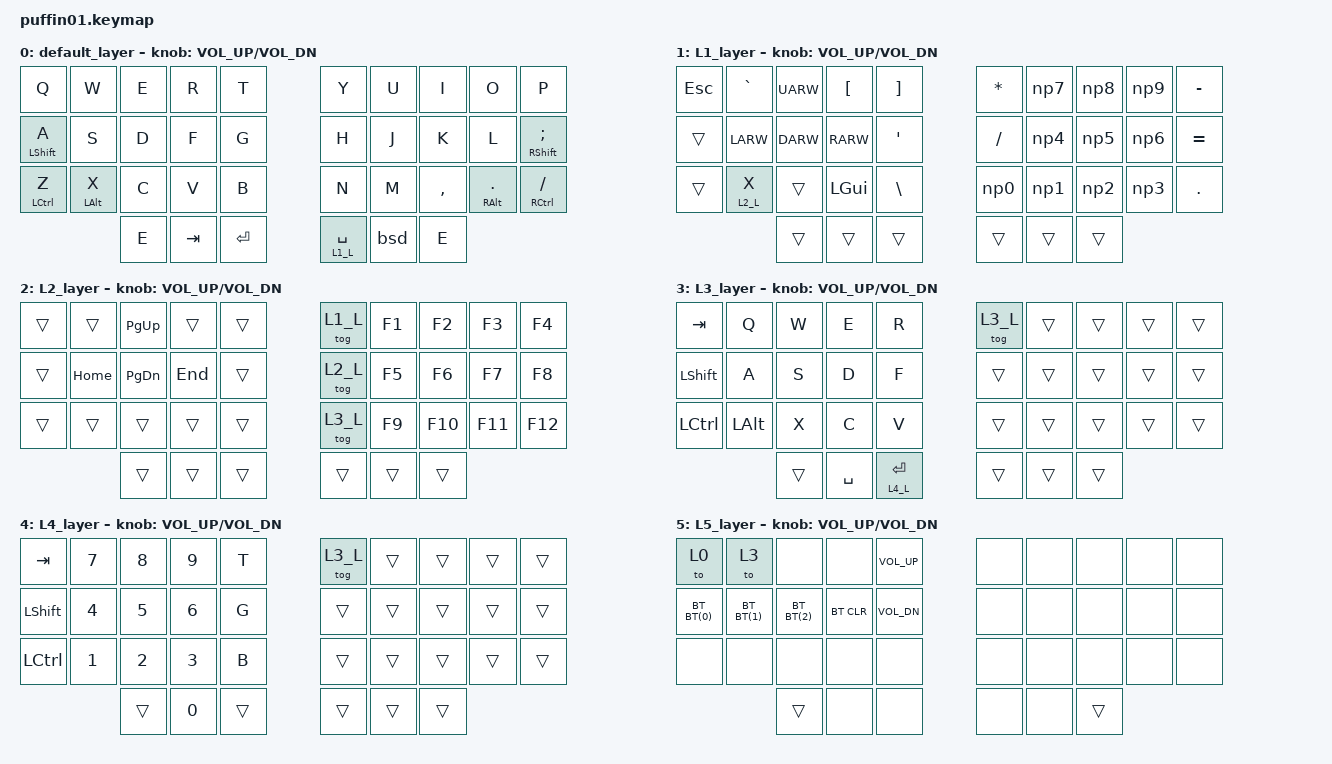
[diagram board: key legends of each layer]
/*
 * Copyright (c) 2020 The ZMK Contributors
 *
 * SPDX-License-Identifier: MIT
 */

#include <behaviors.dtsi>
#include <dt-bindings/zmk/keys.h>
#include <dt-bindings/zmk/bt.h>
#include <dt-bindings/zmk/outputs.h>
#include <dt-bindings/zmk/mouse.h>
#include <dt-bindings/zmk/rgb.h>

#include "mouse.dtsi"

#define BASE 0
#define L1_L 1
#define L2_L 2
#define L3_L 3
#define L4_L 4

// Using layer taps on thumbs, having quick tap as well helps w/ repeating space/backspace
&lt { quick_tap_ms = <200>; };

#define BT(n) BT_SEL n
&sensors {
    status = "okay";
    sensors = <&right_encoder>;
};
&right_encoder { status = "okay"; };
/{
    behaviors {
        hm: homerow_mods {
            compatible = "zmk,behavior-hold-tap";
            label = "homerow mods";
            #binding-cells = <2>;
            tapping_term_ms = <200>;
            flavor = "tap-preferred";
            bindings = <&kp>, <&kp>;
        };
		
		bsd: backspace_delete {
            compatible = "zmk,behavior-mod-morph";
            label = "BACKSPACE_DELETE";
            #binding-cells = <0>;
            bindings = <&kp BACKSPACE>, <&kp DELETE>;
            mods = <(MOD_LSFT|MOD_RSFT)>; 
        };
		
		spen: space_enter {
            compatible = "zmk,behavior-mod-morph";
            label = "SPACE_ENTER";
            #binding-cells = <0>;
            bindings = <&kp SPACE>, <&kp ENTER>;
            mods = <(MOD_RSFT)>; 
        };
		
		np1: numpad1 {compatible = "zmk,behavior-mod-morph";label = "NUMPAD1";#binding-cells = <0>;bindings = <&kp N1>, <&kp KP_N1>;mods = <(MOD_LALT)>;keep-mods = <(MOD_LALT)>;};
		np2: numpad2 {compatible = "zmk,behavior-mod-morph";label = "NUMPAD2";#binding-cells = <0>;bindings = <&kp N2>, <&kp KP_N2>;mods = <(MOD_LALT)>;keep-mods = <(MOD_LALT)>;};
		np3: numpad3 {compatible = "zmk,behavior-mod-morph";label = "NUMPAD3";#binding-cells = <0>;bindings = <&kp N3>, <&kp KP_N3>;mods = <(MOD_LALT)>;keep-mods = <(MOD_LALT)>;};
		np4: numpad4 {compatible = "zmk,behavior-mod-morph";label = "NUMPAD4";#binding-cells = <0>;bindings = <&kp N4>, <&kp KP_N4>;mods = <(MOD_LALT)>;keep-mods = <(MOD_LALT)>;};
		np5: numpad5 {compatible = "zmk,behavior-mod-morph";label = "NUMPAD5";#binding-cells = <0>;bindings = <&kp N5>, <&kp KP_N5>;mods = <(MOD_LALT)>;keep-mods = <(MOD_LALT)>;};
		np6: numpad6 {compatible = "zmk,behavior-mod-morph";label = "NUMPAD6";#binding-cells = <0>;bindings = <&kp N6>, <&kp KP_N6>;mods = <(MOD_LALT)>;keep-mods = <(MOD_LALT)>;};
		np7: numpad7 {compatible = "zmk,behavior-mod-morph";label = "NUMPAD7";#binding-cells = <0>;bindings = <&kp N7>, <&kp KP_N7>;mods = <(MOD_LALT)>;keep-mods = <(MOD_LALT)>;};
		np8: numpad8 {compatible = "zmk,behavior-mod-morph";label = "NUMPAD8";#binding-cells = <0>;bindings = <&kp N8>, <&kp KP_N8>;mods = <(MOD_LALT)>;keep-mods = <(MOD_LALT)>;};
		np9: numpad9 {compatible = "zmk,behavior-mod-morph";label = "NUMPAD9";#binding-cells = <0>;bindings = <&kp N9>, <&kp KP_N9>;mods = <(MOD_LALT)>;keep-mods = <(MOD_LALT)>;};
		np0: numpad0 {compatible = "zmk,behavior-mod-morph";label = "NUMPAD0";#binding-cells = <0>;bindings = <&kp N0>, <&kp KP_N0>;mods = <(MOD_LALT)>;keep-mods = <(MOD_LALT)>;};

        ltb: layer_tab_behave {
            compatible = "zmk,behavior-hold-tap";
            label = "LAYER_TAP_BEHAVE";
            #binding-cells = <2>;
            tapping-term-ms = <200>;
            quick-tap-ms = <0>;
            flavor = "balanced";
            bindings = <&mo>, <&spen>;
        };
		
		combos {
			compatible = "zmk,combos";
			combo_sys {
				timeout-ms = <50>;
				key-positions = <0 31>;
				bindings = <&to 5>;
			};
			combo_esc {
				timeout-ms = <50>;
				key-positions = <0 1>;
				bindings = <&kp ESC>;
			};
		};
    };

    keymap {
        compatible = "zmk,keymap";
        default_layer {
            bindings = <
                &kp Q      	&kp W      	&kp E     	&kp R          	&kp T			&kp Y			&kp U			&kp I			&kp O			&kp P
                &hm LSHFT A &kp S 	  	&kp D 	  	&kp F			&kp G         	&kp H           &kp J    	   	&kp K			&kp L  	  		&hm RSHFT SEMI
                &hm LCTRL Z &hm LALT X  &kp C     	&kp V          	&kp B         	&kp N           &kp M          	&kp COMMA   	&hm RALT DOT    &hm RCTRL FSLH
										&kp E		&kp TAB  		&kp ENTER     	&ltb L1_L SPACE	&bsd			&kp E
												  
            >;
			sensor-bindings = <&inc_dec_kp C_VOL_UP C_VOL_DN>;

        };

        L1_layer {
            bindings = <
                &kp ESC     &kp GRAVE   &kp UARW    &kp LBKT      	&kp RBKT        &kp STAR       	&np7     		&np8      	&np9   		&kp MINUS     
                &trans     	&kp LARW    &kp DARW    &kp RARW   		&kp APOS      	&kp FSLH        &np4     		&np5      	&np6   		&kp EQUAL        
                &trans   	&lt L2_L X 	&trans		&kp LGUI        &kp BSLH       	&np0         	&np1     		&np2      	&np3  		&kp DOT
										&trans		&trans          &trans       	&trans         	&trans			&trans
            >;
			sensor-bindings = <&inc_dec_kp C_VOL_UP C_VOL_DN>;
        };

        L2_layer {
            bindings = <
                &trans     &trans     	&kp PG_UP	&trans          &trans   		&tog L1_L     	&kp F1			&kp F2	        &kp F3         	&kp F4 
                &trans     &kp HOME		&kp PG_DN	&kp END         &trans		    &tog L2_L     	&kp F5			&kp F6       	&kp F7       	&kp F8     
                &trans     &trans     	&trans      &trans          &trans       	&tog L3_L    	&kp F9			&kp F10	        &kp F11   		&kp F12
										&trans		&trans          &trans       	&trans      	&trans			&trans
            >;
			sensor-bindings = <&inc_dec_kp C_VOL_UP C_VOL_DN>;
        };

        L3_layer {
            bindings = <
				&kp TAB		&kp Q      	&kp W      	&kp E     		&kp R	      	&tog L3_L    	&trans         	&trans      	&trans     		&trans  
                &kp LSHFT	&kp A 		&kp S 	  	&kp D 	  		&kp F  			&trans     		&trans          &trans         	&trans      	&trans       
                &kp LCTRL  	&kp LALT 	&kp X   	&kp C     		&kp V          	&trans     		&trans      	&trans     		&trans			&trans
										&trans		&kp SPACE  		&ltb L4_L ENTER	&trans          &trans			&trans
            >;
			sensor-bindings = <&inc_dec_kp C_VOL_UP C_VOL_DN>;
        };
		
		L4_layer {
            bindings = <
				&kp TAB		&kp N7     	&kp N8      &kp N9     		&kp T	      	&tog L3_L    	&trans         	&trans      	&trans     		&trans  
                &kp LSHFT	&kp N4     	&kp N5      &kp N6 	  		&kp G  			&trans     		&trans          &trans         	&trans      	&trans       
                &kp LCTRL  	&kp N1     	&kp N2      &kp N3     		&kp B          	&trans     		&trans      	&trans     		&trans			&trans
										&trans		&kp N0  		&trans			&trans          &trans			&trans
            >;
			sensor-bindings = <&inc_dec_kp C_VOL_UP C_VOL_DN>;
        };
		
		L5_layer {
            bindings = <
				&to 0			&to 3     		&none      		&none     		&kp C_VOL_UP	&none	    	&none         	&none      	&none     		&none  
				&bt BT(0)		&bt BT(1)		&bt BT(2)    	&bt BT_CLR		&kp C_VOL_DN	&none	    	&none       	&none      	&none     		&none  
				&none			&none     		&none      		&none     		&none	      	&none	    	&none         	&none      	&none     		&none  
												&trans			&none  			&none			&none          	&none			&trans
            >;
			sensor-bindings = <&inc_dec_kp C_VOL_UP C_VOL_DN>;
        };
    };
};
